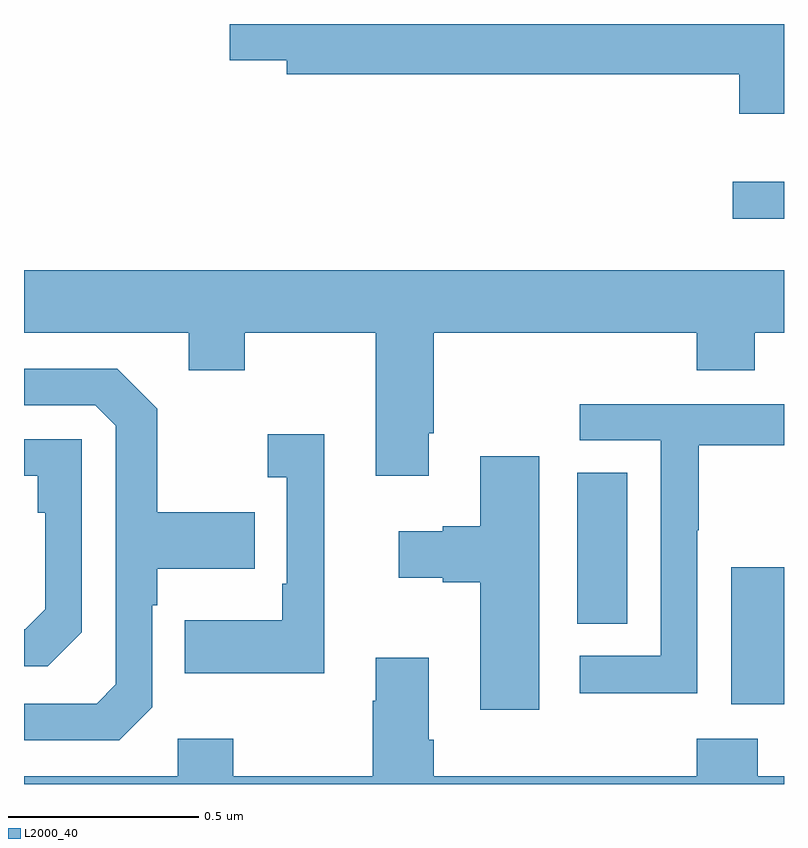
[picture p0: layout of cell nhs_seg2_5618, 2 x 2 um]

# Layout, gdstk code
import gdstk
lib = gdstk.Library(unit=1e-6, precision=1e-09)
def R(c, l, rs):  # rectangles x0, y0, x1, y1
    for r in rs: c.add(gdstk.rectangle(r[:2], r[2:], *l))
def P(c, l, *ps):  # polygons
    for p in ps: c.add(gdstk.Polygon(p, *l))
L2000_40 = (2000, 40)

nhs_seg2_5618 = lib.new_cell('nhs_seg2_5618')
R(nhs_seg2_5618, L2000_40, [(182.861,628.01,183,628.371), (182.456,628.222,182.587,628.619), (182.865,629.288,183,629.385)])
P(nhs_seg2_5618, L2000_40, [(183,629.8),(181.542,629.8),(181.542,629.705),(181.691,629.705),(181.691,629.668),(182.882,629.668),(182.882,629.564),(183,629.564)],
  [(182.065,628.723),(182.078,628.723),(182.078,628.988),(182.771,628.988),(182.771,628.889),(182.923,628.889),(182.923,628.988),(183,628.988),(183,629.152),(181,629.152),(181,628.988),(181.433,628.988),(181.433,628.889),(181.581,628.889),(181.581,628.988),(181.925,628.988),(181.925,628.611),(182.065,628.611)],
  [(181.338,628.002),(181.338,628.271),(181.351,628.271),(181.351,628.367),(181.607,628.367),(181.607,628.515),(181.351,628.515),(181.351,628.787),(181.245,628.893),(181,628.893),(181,628.797),(181.188,628.797),(181.242,628.743),(181.242,628.062),(181.191,628.011),(181,628.011),(181,627.915),(181.251,627.915)],
  [(182.772,628.468),(182.775,628.468),(182.775,628.692),(183,628.692),(183,628.8),(182.463,628.8),(182.463,628.704),(182.676,628.704),(182.676,628.137),(182.463,628.137),(182.463,628.039),(182.772,628.039)],
  [(181.79,628.72),(181.641,628.72),(181.641,628.607),(181.692,628.607),(181.692,628.327),(181.68,628.327),(181.68,628.231),(181.423,628.231),(181.423,628.091),(181.79,628.091)],
  [(181.152,628.2),(181.152,628.707),(181,628.707),(181,628.611),(181.036,628.611),(181.036,628.514),(181.056,628.514),(181.056,628.26),(181.003,628.207),(181,628.207),(181,628.11),(181.062,628.11)],
  [(182.356,628.663),(182.201,628.663),(182.201,628.478),(182.102,628.478),(182.102,628.465),(181.986,628.465),(181.986,628.343),(182.102,628.343),(182.102,628.331),(182.201,628.331),(182.201,627.996),(182.356,627.996)],
  [(183,627.82),(182.931,627.82),(182.931,627.919),(182.771,627.919),(182.771,627.82),(182.078,627.82),(182.078,627.916),(182.065,627.916),(182.065,628.132),(181.925,628.132),(181.925,628.019),(181.918,628.019),(181.918,627.82),(181.551,627.82),(181.551,627.919),(181.404,627.919),(181.404,627.82),(181,627.82),(181,627.8),(183,627.8)])

lib.write_gds('nhs_seg2_5618.gds')
